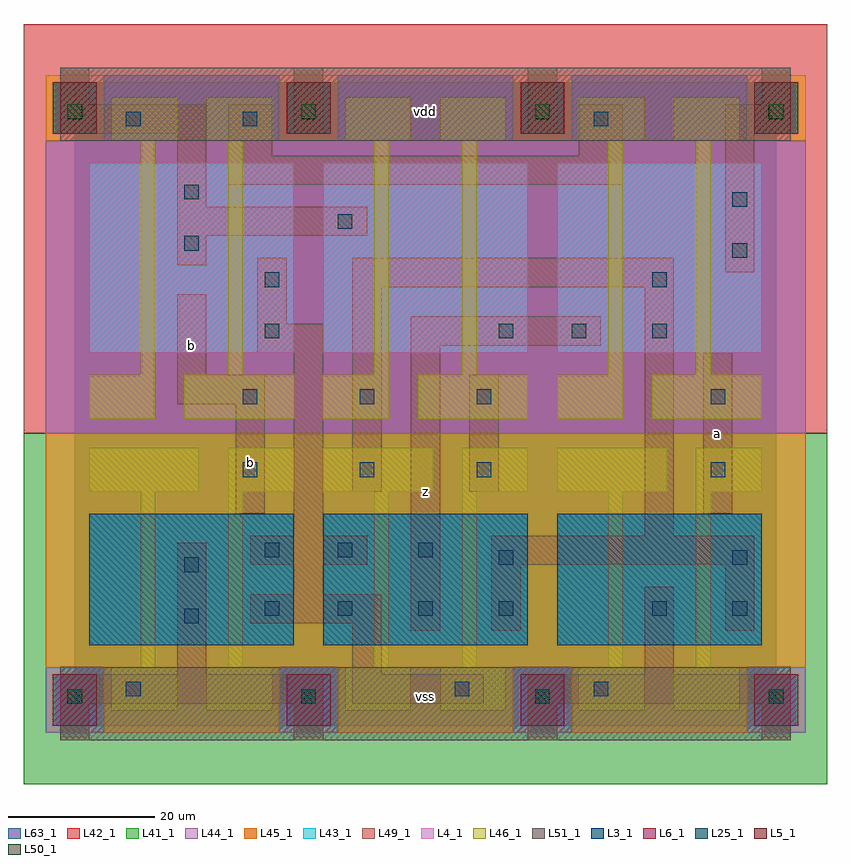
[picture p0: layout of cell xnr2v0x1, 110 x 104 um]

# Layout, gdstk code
import gdstk
lib = gdstk.Library(unit=1e-6, precision=1e-09)
def R(c, l, rs):  # rectangles x0, y0, x1, y1
    for r in rs: c.add(gdstk.rectangle(r[:2], r[2:], *l))
def A(c, l, x, y, w, h, nx, ny, dx, dy):  # array of equal rectangles
    R(c, l, [(x+i*dx, y+j*dy, x+i*dx+w, y+j*dy+h) for i in range(nx) for j in range(ny)])
L3_1 = (3, 1)
L4_1 = (4, 1)
L5_1 = (5, 1)
L6_1 = (6, 1)
L25_1 = (25, 1)
L41_1 = (41, 1)
L42_1 = (42, 1)
L43_1 = (43, 1)
L44_1 = (44, 1)
L45_1 = (45, 1)
L46_1 = (46, 1)
L49_1 = (49, 1)
L50_1 = (50, 1)
L51_1 = (51, 1)
L63_1 = (63, 1)

xnr2v0x1 = lib.new_cell('xnr2v0x1')
A(xnr2v0x1, L3_1, 2, 11, 28, 18, 3, 1, 32, 0)
A(xnr2v0x1, L4_1, 2, 51, 28, 26, 3, 1, 32, 0)
A(xnr2v0x1, L5_1, -3, 81, 6, 7, 4, 1, 32, 0)
R(xnr2v0x1, L6_1, [(-3,0,3,7), (-3,0,3,7), (29,0,35,7), (29,0,35,7), (61,0,67,7), (61,0,67,7), (93,0,99,7), (93,0,99,7)])
A(xnr2v0x1, L25_1, -1, 3, 2, 2, 4, 2, 32, 80)
A(xnr2v0x1, L25_1, 36, 15, 2, 2, 3, 1, 11, 0)
A(xnr2v0x1, L25_1, 23, 34, 2, 2, 3, 2, 16, 10)
R(xnr2v0x1, L25_1, [(7,4,9,6), (52,4,54,6), (71,4,73,6), (15,14,17,16), (26,15,28,17), (79,15,81,17), (90,15,92,17), (15,21,17,23), (58,22,60,24), (90,22,92,24), (26,23,28,25), (36,23,38,25), (47,23,49,25), (87,34,89,36), (87,44,89,46), (26,53,28,55), (58,53,60,55), (68,53,70,55), (79,53,81,55), (26,60,28,62), (79,60,81,62), (90,64,92,66), (15,65,17,67), (36,68,38,70), (90,71,92,73), (15,72,17,74), (7,82,9,84), (23,82,25,84), (71,82,73,84)])
R(xnr2v0x1, L41_1, [(-7,-8,103,40)])
R(xnr2v0x1, L42_1, [(-7,40,103,96)])
A(xnr2v0x1, L43_1, -3, 0, 6, 7, 4, 2, 32, 81)
A(xnr2v0x1, L43_1, 2, 11, 28, 18, 3, 1, 32, 0)
A(xnr2v0x1, L43_1, 2, 51, 28, 26, 3, 1, 32, 0)
A(xnr2v0x1, L44_1, -4, -1, 8, 9, 4, 1, 32, 0)
A(xnr2v0x1, L44_1, 4, 80, 24, 9, 3, 1, 32, 0)
R(xnr2v0x1, L44_1, [(-4,40,100,80)])
A(xnr2v0x1, L45_1, 4, -1, 24, 9, 3, 1, 32, 0)
A(xnr2v0x1, L45_1, -4, 80, 8, 9, 4, 1, 32, 0)
R(xnr2v0x1, L45_1, [(-4,8,100,40)])
A(xnr2v0x1, L46_1, 2, 32, 15, 6, 3, 1, 32, 0)
A(xnr2v0x1, L46_1, 21, 32, 9, 6, 3, 1, 32, 0)
A(xnr2v0x1, L46_1, 2, 42, 9, 6, 3, 1, 32, 0)
A(xnr2v0x1, L46_1, 15, 42, 15, 6, 3, 1, 32, 0)
R(xnr2v0x1, L46_1, [(5,2,14,8), (18,2,27,8), (37,2,46,8), (50,2,59,8), (69,2,78,8), (82,2,91,8), (9,8,11,32), (21,8,23,32), (41,8,43,32), (53,8,55,32), (73,8,75,32), (85,8,87,32), (9,48,11,80), (21,48,23,80), (41,48,43,80), (53,48,55,80), (73,48,75,80), (85,48,87,80), (5,80,14,86), (18,80,27,86), (37,80,46,86), (50,80,59,86), (69,80,78,86), (82,80,91,86)])
A(xnr2v0x1, L49_1, -2, -2, 4, 5, 4, 1, 32, 0)
R(xnr2v0x1, L49_1, [(-2,3,34,7), (38,3,56,7), (62,3,98,7), (14,7,18,25), (38,7,42,14), (78,7,82,19), (46,13,50,52), (57,13,61,22), (89,13,93,22), (24,14,42,18), (30,18,34,22), (24,22,40,26), (57,22,93,26), (30,26,34,51), (78,26,82,60), (22,29,26,44), (86,29,90,51), (38,32,42,60), (54,32,58,48), (14,44,26,48), (14,48,18,59), (25,51,34,55), (46,52,72,56), (25,55,29,64), (38,60,82,64), (89,62,93,81), (14,63,18,67), (14,67,40,71), (14,71,18,81), (21,74,75,78), (21,78,27,85), (69,78,75,85), (-2,81,18,85), (30,81,34,90), (62,81,66,90), (89,81,98,85), (-2,85,2,90), (94,85,98,90)])
A(xnr2v0x1, L50_1, -1, 3, 2, 2, 4, 2, 32, 80)
R(xnr2v0x1, L51_1, [(-2,-2,98,8), (-2,80,98,90)])
R(xnr2v0x1, L63_1, [(0,0,96,88)])
xnr2v0x1.add(gdstk.Label('b', (24,36), layer=49, texttype=1))
xnr2v0x1.add(gdstk.Label('b', (16,52), layer=49, texttype=1))
xnr2v0x1.add(gdstk.Label('z', (48,32), layer=49, texttype=1))
xnr2v0x1.add(gdstk.Label('a', (88,40), layer=49, texttype=1))
xnr2v0x1.add(gdstk.Label('vss', (48,4), layer=51, texttype=1))
xnr2v0x1.add(gdstk.Label('vdd', (48,84), layer=51, texttype=1))

lib.write_gds('xnr2v0x1.gds')
